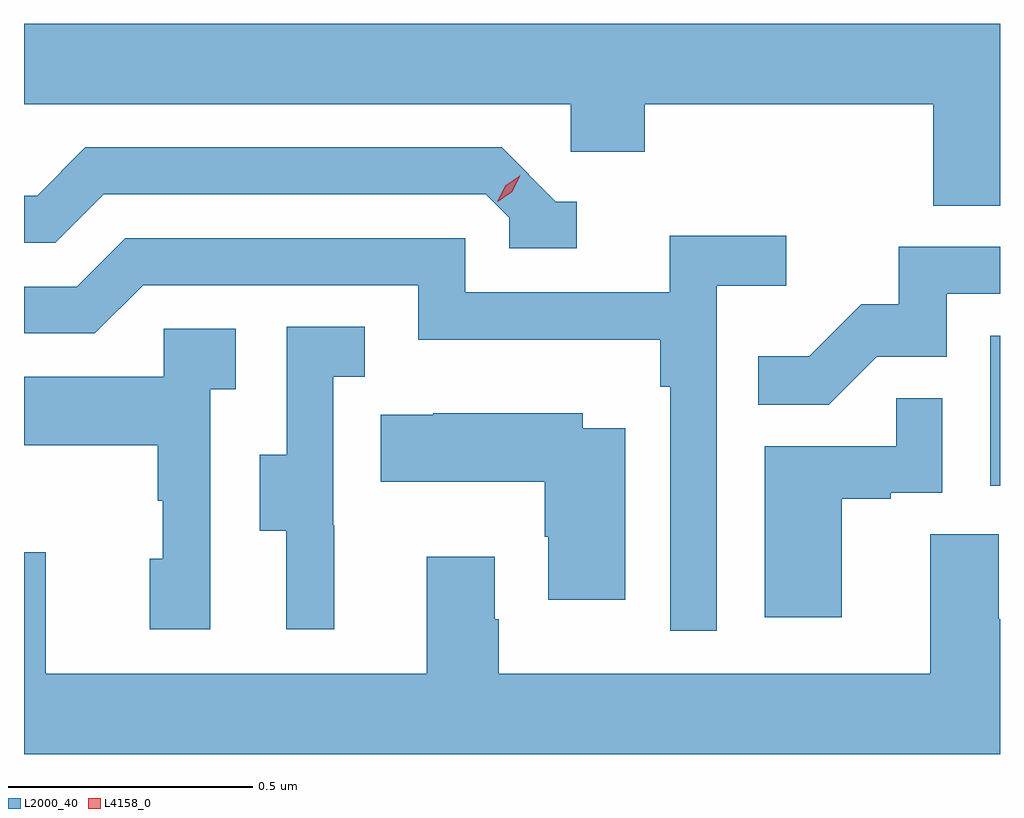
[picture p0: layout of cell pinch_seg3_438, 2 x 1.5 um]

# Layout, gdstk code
import gdstk
lib = gdstk.Library(unit=1e-6, precision=1e-09)
def R(c, l, rs):  # rectangles x0, y0, x1, y1
    for r in rs: c.add(gdstk.rectangle(r[:2], r[2:], *l))
def P(c, l, *ps):  # polygons
    for p in ps: c.add(gdstk.Polygon(p, *l))
L2000_40 = (2000, 40)
L4158_0 = (4158, 0)

pinch_seg3_438 = lib.new_cell('pinch_seg3_438')
R(pinch_seg3_438, L2000_40, [(891.968,705.462,891.988,705.769)])
P(pinch_seg3_438, L2000_40, [(891.988,706.408),(889.988,706.408),(889.988,706.244),(891.108,706.244),(891.108,706.146),(891.26,706.146),(891.26,706.244),(891.851,706.244),(891.851,706.036),(891.988,706.036)],
  [(891.121,706.044),(891.078,706.044),(890.967,706.155),(890.114,706.155),(890.015,706.056),(889.988,706.056),(889.988,705.96),(890.052,705.96),(890.151,706.059),(890.934,706.059),(890.982,706.011),(890.982,705.948),(891.121,705.948)],
  [(891.408,705.872),(891.55,705.872),(891.55,705.974),(891.311,705.974),(891.311,705.858),(890.892,705.858),(890.892,705.969),(890.195,705.969),(890.096,705.87),(889.988,705.87),(889.988,705.774),(890.133,705.774),(890.232,705.873),(890.796,705.873),(890.796,705.761),(891.292,705.761),(891.292,705.665),(891.312,705.665),(891.312,705.165),(891.408,705.165)],
  [(891.735,705.726),(891.879,705.726),(891.879,705.855),(891.988,705.855),(891.988,705.951),(891.781,705.951),(891.781,705.834),(891.704,705.834),(891.597,705.727),(891.493,705.727),(891.493,705.628),(891.637,705.628)],
  [(890.624,705.381),(890.622,705.381),(890.622,705.685),(890.686,705.685),(890.686,705.788),(890.526,705.788),(890.526,705.525),(890.471,705.525),(890.471,705.37),(890.525,705.37),(890.525,705.168),(890.624,705.168)],
  [(890.37,705.659),(890.422,705.659),(890.422,705.783),(890.274,705.783),(890.274,705.685),(889.988,705.685),(889.988,705.545),(890.262,705.545),(890.262,705.431),(890.272,705.431),(890.272,705.312),(890.246,705.312),(890.246,705.168),(890.37,705.168)],
  [(891.664,705.435),(891.764,705.435),(891.764,705.447),(891.87,705.447),(891.87,705.641),(891.775,705.641),(891.775,705.543),(891.506,705.543),(891.506,705.192),(891.664,705.192)],
  [(891.22,705.58),(891.133,705.58),(891.133,705.61),(890.827,705.61),(890.827,705.607),(890.719,705.607),(890.719,705.47),(891.055,705.47),(891.055,705.357),(891.062,705.357),(891.062,705.228),(891.22,705.228)],
  [(891.988,705.188),(891.985,705.188),(891.985,705.362),(891.845,705.362),(891.845,705.076),(890.961,705.076),(890.961,705.188),(890.953,705.188),(890.953,705.316),(890.813,705.316),(890.813,705.076),(890.033,705.076),(890.033,705.325),(889.988,705.325),(889.988,704.912),(891.988,704.912)])
P(pinch_seg3_438, L4158_0, [(890.959,706.044),(890.959,706.045),(890.974,706.077),(891.004,706.097),(891.005,706.097),(891.005,706.097),(890.989,706.064),(890.959,706.044)])

lib.write_gds('pinch_seg3_438.gds')
